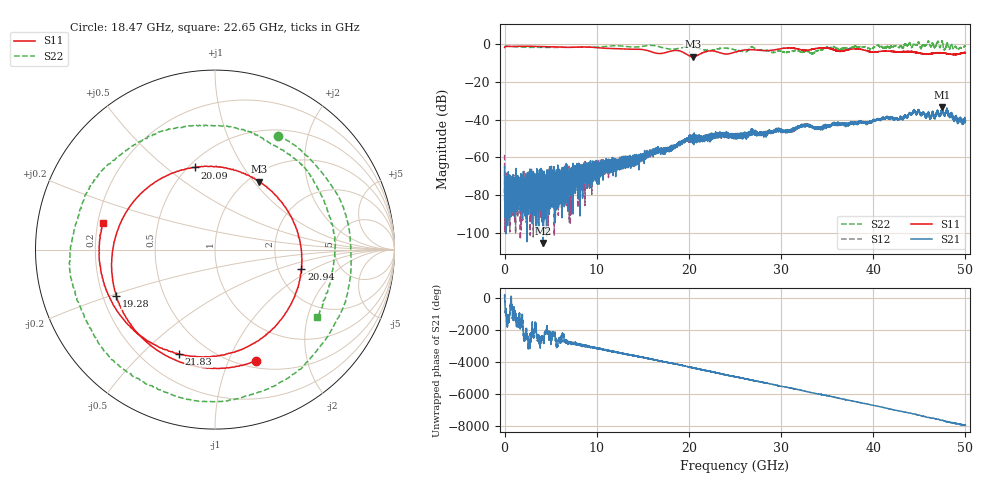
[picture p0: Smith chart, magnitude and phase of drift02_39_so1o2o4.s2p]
!Created with skrf (http://scikit-rf.org).
# Hz S RI R 50.0
!freq ReS11 ImS11 ReS21 ImS21 ReS12 ImS12 ReS22 ImS22
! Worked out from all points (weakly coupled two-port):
!   10001 points, 300 kHz to 50 GHz, reference 50 ohm
!   highest |S21| = -33.50 dB at 47.49 GHz (marker M1); lowest = -105.0 dB at 4.185 GHz (marker M2)
!   lowest |S11| = -6.9 dB at 20.42 GHz (marker M3), VSWR 2.64, Z = 56 + j53.1 ohm
!   |S11| at or under -10 dB: nowhere
!   |S22| runs from -5.4 to 1.7 dB; largest |S21 - S12| = 0.003
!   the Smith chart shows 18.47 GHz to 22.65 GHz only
!   S11 on the Smith chart (normalised r, x): 18.47 GHz: 0.58, -1.26; 19.28 GHz: 0.26, -0.21; 20.09 GHz: 0.54, +0.64; 20.94 GHz: 2.70, -0.75; 21.83 GHz: 0.35, -0.65; 22.65 GHz: 0.22, +0.11
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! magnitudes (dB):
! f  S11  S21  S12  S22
! 300 kHz  -2.1  -64.8  -58.6  -1.3
! 255.3 MHz  -1.4  -79.4  -78.7  -1.4
! 4.185 GHz  -1.6  -105.0  -74.2  -2.0
! 8.335 GHz  -1.7  -71.4  -72.8  -1.9
! 8.805 GHz  -1.7  -68.4  -64.5  -1.9
! 16.67 GHz  -5.2  -54.9  -55.8  -1.5
! 18.47 GHz  -3.6  -55.2  -54.2  -2.8
! 19.28 GHz  -4.3  -52.8  -52.7  -2.1
! 20.09 GHz  -6.5  -50.5  -50.9  -1.5
! 20.42 GHz  -6.9  -48.0  -48.7  -1.8
! 20.94 GHz  -6.1  -49.9  -49.6  -2.2
! 21.83 GHz  -4.2  -48.1  -49.9  -3.5
! 22.65 GHz  -3.8  -47.9  -48.1  -3.3
! 25 GHz  -4.5  -48.0  -48.5  -3.2
! 26.11 GHz  -3.3  -48.2  -48.4  -4.3
! 26.9 GHz  -3.2  -47.2  -46.2  -1.6
! 28.09 GHz  -3.7  -47.9  -47.4  -3.4
! 33.34 GHz  -3.0  -43.9  -44.3  -5.1
! 34.89 GHz  -2.2  -43.2  -43.3  -2.3
! 41.67 GHz  -4.0  -39.1  -39.2  -2.1
! 47.49 GHz  -4.8  -33.5  -34.4  1.5
! 50 GHz  -4.8  -40.6  -40.4  -1.5
